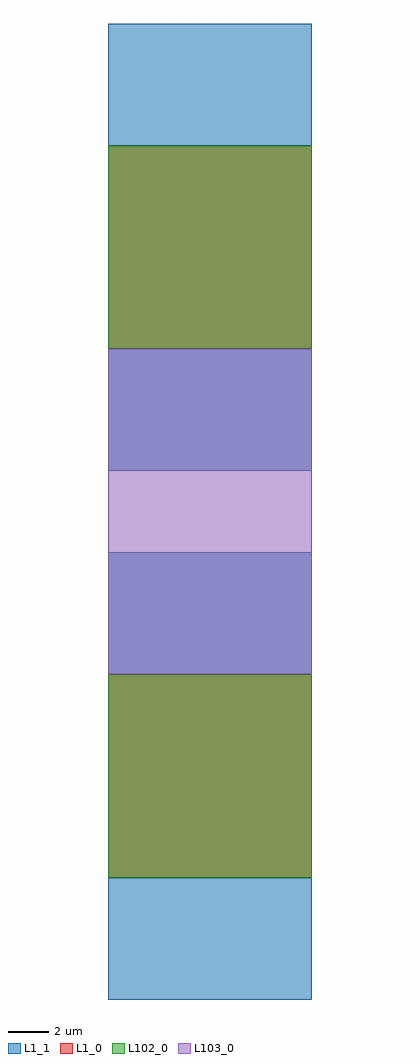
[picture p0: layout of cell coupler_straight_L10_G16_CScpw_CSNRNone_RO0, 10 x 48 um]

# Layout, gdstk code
import gdstk
lib = gdstk.Library(unit=1e-6, precision=1e-09)
def R(c, l, rs):  # rectangles x0, y0, x1, y1
    for r in rs: c.add(gdstk.rectangle(r[:2], r[2:], *l))
L1_0 = (1, 0)
L1_1 = (1, 1)
L102_0 = (102, 0)
L103_0 = (103, 0)

straight_l10_cscpw_n2 = lib.new_cell('straight_L10_CScpw_N2')
R(straight_l10_cscpw_n2, L1_0, [(0,-5,10,5)])
R(straight_l10_cscpw_n2, L1_1, [(0,-11,10,-5), (0,5,10,11)])
R(straight_l10_cscpw_n2, L102_0, [(0,-5,10,5)])

coupler_straight_l10_g16 = lib.new_cell('coupler_straight_L10_G16_CScpw_CSNRNone_RO0')
R(coupler_straight_l10_g16, L103_0, [(0,5,10,21)])
coupler_straight_l10_g16.add(gdstk.Reference(straight_l10_cscpw_n2, (0,0)))
coupler_straight_l10_g16.add(gdstk.Reference(straight_l10_cscpw_n2, (0,26)))

lib.write_gds('coupler_straight_L10_G16_CScpw_CSNRNone_RO0.gds')
